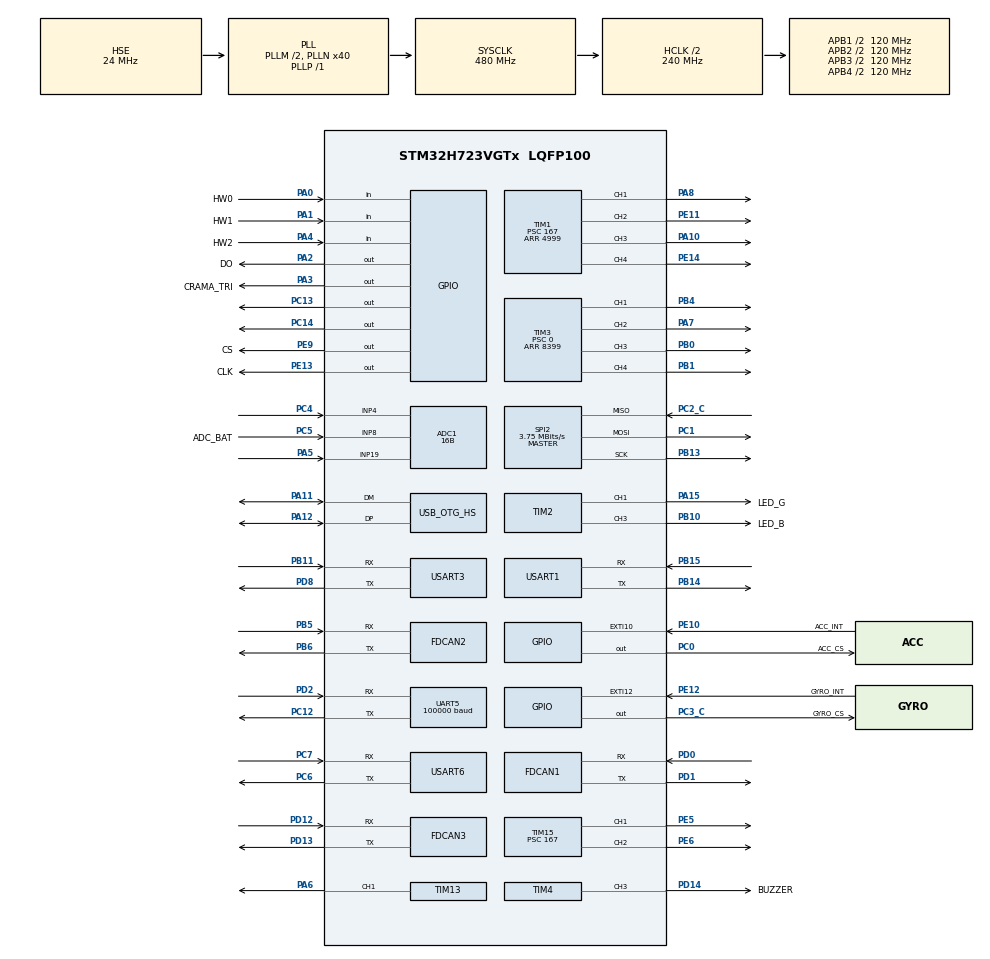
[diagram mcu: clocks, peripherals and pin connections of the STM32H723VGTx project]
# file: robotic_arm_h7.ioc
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ADC1.Channel-0\#ChannelRegularConversion=ADC_CHANNEL_4
ADC1.LowPowerAutoWait=DISABLE
ADC1.NbrOfConversion=1
ADC1.NbrOfConversionFlag=1
ADC1.OffsetNumber-0\#ChannelRegularConversion=ADC_OFFSET_NONE
ADC1.OffsetSignedSaturation-0\#ChannelRegularConversion=DISABLE
ADC1.Rank-0\#ChannelRegularConversion=1
ADC1.Resolution=ADC_RESOLUTION_16B
ADC1.SamplingTime-0\#ChannelRegularConversion=ADC_SAMPLETIME_1CYCLE_5
ADC1.master=1
ADC3.Channel-0\#ChannelRegularConversion=ADC_CHANNEL_TEMPSENSOR
ADC3.NbrOfConversionFlag=1
ADC3.OffsetNumber-0\#ChannelRegularConversion=ADC_OFFSET_NONE
ADC3.OffsetSign-0\#ChannelRegularConversion=ADC3_OFFSET_SIGN_NEGATIVE
ADC3.Rank-0\#ChannelRegularConversion=1
ADC3.SamplingTime-0\#ChannelRegularConversion=ADC3_SAMPLETIME_2CYCLES_5
CORTEX_M7.default_mode_Activation=1
Dma.ADC1.8.Direction=DMA_PERIPH_TO_MEMORY
Dma.ADC1.8.EventEnable=DISABLE
Dma.ADC1.8.FIFOMode=DMA_FIFOMODE_DISABLE
Dma.ADC1.8.Instance=DMA1_Stream7
Dma.ADC1.8.MemDataAlignment=DMA_MDATAALIGN_HALFWORD
Dma.ADC1.8.MemInc=DMA_MINC_ENABLE
Dma.ADC1.8.Mode=DMA_NORMAL
Dma.ADC1.8.PeriphDataAlignment=DMA_PDATAALIGN_HALFWORD
Dma.ADC1.8.PeriphInc=DMA_PINC_DISABLE
Dma.ADC1.8.Polarity=HAL_DMAMUX_REQ_GEN_RISING
Dma.ADC1.8.Priority=DMA_PRIORITY_LOW
Dma.ADC1.8.RequestNumber=1
Dma.ADC1.8.SignalID=NONE
Dma.ADC1.8.SyncEnable=DISABLE
Dma.ADC1.8.SyncPolarity=HAL_DMAMUX_SYNC_NO_EVENT
Dma.ADC1.8.SyncRequestNumber=1
Dma.ADC1.8.SyncSignalID=NONE
Dma.Request0=SPI2_RX
Dma.Request1=SPI2_TX
Dma.Request2=USART1_RX
Dma.Request3=USART1_TX
Dma.Request4=USART3_RX
Dma.Request5=USART6_RX
Dma.Request6=USART6_TX
Dma.Request7=UART5_RX
Dma.Request8=ADC1
Dma.SPI2_RX.0.Direction=DMA_PERIPH_TO_MEMORY
Dma.SPI2_RX.0.EventEnable=DISABLE
Dma.SPI2_RX.0.FIFOMode=DMA_FIFOMODE_DISABLE
Dma.SPI2_RX.0.Instance=DMA1_Stream0
Dma.SPI2_RX.0.MemDataAlignment=DMA_MDATAALIGN_BYTE
Dma.SPI2_RX.0.MemInc=DMA_MINC_ENABLE
Dma.SPI2_RX.0.Mode=DMA_NORMAL
Dma.SPI2_RX.0.PeriphDataAlignment=DMA_PDATAALIGN_BYTE
Dma.SPI2_RX.0.PeriphInc=DMA_PINC_DISABLE
Dma.SPI2_RX.0.Polarity=HAL_DMAMUX_REQ_GEN_RISING
Dma.SPI2_RX.0.Priority=DMA_PRIORITY_VERY_HIGH
Dma.SPI2_RX.0.RequestNumber=1
Dma.SPI2_RX.0.SignalID=NONE
Dma.SPI2_RX.0.SyncEnable=DISABLE
Dma.SPI2_RX.0.SyncPolarity=HAL_DMAMUX_SYNC_NO_EVENT
Dma.SPI2_RX.0.SyncRequestNumber=1
Dma.SPI2_RX.0.SyncSignalID=NONE
Dma.SPI2_TX.1.Direction=DMA_MEMORY_TO_PERIPH
Dma.SPI2_TX.1.EventEnable=DISABLE
Dma.SPI2_TX.1.FIFOMode=DMA_FIFOMODE_DISABLE
Dma.SPI2_TX.1.Instance=DMA1_Stream1
Dma.SPI2_TX.1.MemDataAlignment=DMA_MDATAALIGN_BYTE
Dma.SPI2_TX.1.MemInc=DMA_MINC_ENABLE
Dma.SPI2_TX.1.Mode=DMA_NORMAL
Dma.SPI2_TX.1.PeriphDataAlignment=DMA_PDATAALIGN_BYTE
Dma.SPI2_TX.1.PeriphInc=DMA_PINC_DISABLE
Dma.SPI2_TX.1.Polarity=HAL_DMAMUX_REQ_GEN_RISING
Dma.SPI2_TX.1.Priority=DMA_PRIORITY_HIGH
Dma.SPI2_TX.1.RequestNumber=1
Dma.SPI2_TX.1.SignalID=NONE
Dma.SPI2_TX.1.SyncEnable=DISABLE
Dma.SPI2_TX.1.SyncPolarity=HAL_DMAMUX_SYNC_NO_EVENT
Dma.SPI2_TX.1.SyncRequestNumber=1
Dma.SPI2_TX.1.SyncSignalID=NONE
Dma.UART5_RX.7.Direction=DMA_PERIPH_TO_MEMORY
Dma.UART5_RX.7.EventEnable=DISABLE
Dma.UART5_RX.7.FIFOMode=DMA_FIFOMODE_DISABLE
Dma.UART5_RX.7.Instance=DMA1_Stream4
Dma.UART5_RX.7.MemDataAlignment=DMA_MDATAALIGN_BYTE
Dma.UART5_RX.7.MemInc=DMA_MINC_ENABLE
Dma.UART5_RX.7.Mode=DMA_CIRCULAR
Dma.UART5_RX.7.PeriphDataAlignment=DMA_PDATAALIGN_BYTE
Dma.UART5_RX.7.PeriphInc=DMA_PINC_DISABLE
Dma.UART5_RX.7.Polarity=HAL_DMAMUX_REQ_GEN_RISING
Dma.UART5_RX.7.Priority=DMA_PRIORITY_VERY_HIGH
Dma.UART5_RX.7.RequestNumber=1
Dma.UART5_RX.7.SignalID=NONE
Dma.UART5_RX.7.SyncEnable=DISABLE
Dma.UART5_RX.7.SyncPolarity=HAL_DMAMUX_SYNC_NO_EVENT
Dma.UART5_RX.7.SyncRequestNumber=1
Dma.UART5_RX.7.SyncSignalID=NONE
Dma.USART1_RX.2.Direction=DMA_PERIPH_TO_MEMORY
Dma.USART1_RX.2.EventEnable=DISABLE
Dma.USART1_RX.2.FIFOMode=DMA_FIFOMODE_DISABLE
Dma.USART1_RX.2.Instance=DMA1_Stream3
Dma.USART1_RX.2.MemDataAlignment=DMA_MDATAALIGN_BYTE
Dma.USART1_RX.2.MemInc=DMA_MINC_ENABLE
Dma.USART1_RX.2.Mode=DMA_NORMAL
Dma.USART1_RX.2.PeriphDataAlignment=DMA_PDATAALIGN_BYTE
Dma.USART1_RX.2.PeriphInc=DMA_PINC_DISABLE
Dma.USART1_RX.2.Polarity=HAL_DMAMUX_REQ_GEN_RISING
Dma.USART1_RX.2.Priority=DMA_PRIORITY_VERY_HIGH
Dma.USART1_RX.2.RequestNumber=1
Dma.USART1_RX.2.SignalID=NONE
Dma.USART1_RX.2.SyncEnable=DISABLE
Dma.USART1_RX.2.SyncPolarity=HAL_DMAMUX_SYNC_NO_EVENT
Dma.USART1_RX.2.SyncRequestNumber=1
Dma.USART1_RX.2.SyncSignalID=NONE
Dma.USART1_TX.3.Direction=DMA_MEMORY_TO_PERIPH
Dma.USART1_TX.3.EventEnable=DISABLE
Dma.USART1_TX.3.FIFOMode=DMA_FIFOMODE_DISABLE
Dma.USART1_TX.3.Instance=DMA1_Stream2
Dma.USART1_TX.3.MemDataAlignment=DMA_MDATAALIGN_BYTE
Dma.USART1_TX.3.MemInc=DMA_MINC_ENABLE
Dma.USART1_TX.3.Mode=DMA_NORMAL
Dma.USART1_TX.3.PeriphDataAlignment=DMA_PDATAALIGN_BYTE
Dma.USART1_TX.3.PeriphInc=DMA_PINC_DISABLE
Dma.USART1_TX.3.Polarity=HAL_DMAMUX_REQ_GEN_RISING
Dma.USART1_TX.3.Priority=DMA_PRIORITY_MEDIUM
Dma.USART1_TX.3.RequestNumber=1
Dma.USART1_TX.3.SignalID=NONE
Dma.USART1_TX.3.SyncEnable=DISABLE
Dma.USART1_TX.3.SyncPolarity=HAL_DMAMUX_SYNC_NO_EVENT
Dma.USART1_TX.3.SyncRequestNumber=1
Dma.USART1_TX.3.SyncSignalID=NONE
Dma.USART3_RX.4.Direction=DMA_PERIPH_TO_MEMORY
Dma.USART3_RX.4.EventEnable=DISABLE
Dma.USART3_RX.4.FIFOMode=DMA_FIFOMODE_DISABLE
Dma.USART3_RX.4.Instance=DMA2_Stream0
Dma.USART3_RX.4.MemDataAlignment=DMA_MDATAALIGN_BYTE
Dma.USART3_RX.4.MemInc=DMA_MINC_ENABLE
Dma.USART3_RX.4.Mode=DMA_NORMAL
Dma.USART3_RX.4.PeriphDataAlignment=DMA_PDATAALIGN_BYTE
Dma.USART3_RX.4.PeriphInc=DMA_PINC_DISABLE
Dma.USART3_RX.4.Polarity=HAL_DMAMUX_REQ_GEN_RISING
Dma.USART3_RX.4.Priority=DMA_PRIORITY_HIGH
Dma.USART3_RX.4.RequestNumber=1
Dma.USART3_RX.4.SignalID=NONE
Dma.USART3_RX.4.SyncEnable=DISABLE
Dma.USART3_RX.4.SyncPolarity=HAL_DMAMUX_SYNC_NO_EVENT
Dma.USART3_RX.4.SyncRequestNumber=1
Dma.USART3_RX.4.SyncSignalID=NONE
Dma.USART6_RX.5.Direction=DMA_PERIPH_TO_MEMORY
Dma.USART6_RX.5.EventEnable=DISABLE
Dma.USART6_RX.5.FIFOMode=DMA_FIFOMODE_DISABLE
Dma.USART6_RX.5.Instance=DMA1_Stream5
Dma.USART6_RX.5.MemDataAlignment=DMA_MDATAALIGN_BYTE
Dma.USART6_RX.5.MemInc=DMA_MINC_ENABLE
Dma.USART6_RX.5.Mode=DMA_NORMAL
Dma.USART6_RX.5.PeriphDataAlignment=DMA_PDATAALIGN_BYTE
Dma.USART6_RX.5.PeriphInc=DMA_PINC_DISABLE
Dma.USART6_RX.5.Polarity=HAL_DMAMUX_REQ_GEN_RISING
Dma.USART6_RX.5.Priority=DMA_PRIORITY_HIGH
Dma.USART6_RX.5.RequestNumber=1
Dma.USART6_RX.5.SignalID=NONE
Dma.USART6_RX.5.SyncEnable=DISABLE
Dma.USART6_RX.5.SyncPolarity=HAL_DMAMUX_SYNC_NO_EVENT
Dma.USART6_RX.5.SyncRequestNumber=1
Dma.USART6_RX.5.SyncSignalID=NONE
Dma.USART6_TX.6.Direction=DMA_MEMORY_TO_PERIPH
Dma.USART6_TX.6.EventEnable=DISABLE
Dma.USART6_TX.6.FIFOMode=DMA_FIFOMODE_DISABLE
Dma.USART6_TX.6.Instance=DMA1_Stream6
Dma.USART6_TX.6.MemDataAlignment=DMA_MDATAALIGN_BYTE
Dma.USART6_TX.6.MemInc=DMA_MINC_ENABLE
Dma.USART6_TX.6.Mode=DMA_NORMAL
Dma.USART6_TX.6.PeriphDataAlignment=DMA_PDATAALIGN_BYTE
Dma.USART6_TX.6.PeriphInc=DMA_PINC_DISABLE
Dma.USART6_TX.6.Polarity=HAL_DMAMUX_REQ_GEN_RISING
Dma.USART6_TX.6.Priority=DMA_PRIORITY_MEDIUM
Dma.USART6_TX.6.RequestNumber=1
Dma.USART6_TX.6.SignalID=NONE
Dma.USART6_TX.6.SyncEnable=DISABLE
Dma.USART6_TX.6.SyncPolarity=HAL_DMAMUX_SYNC_NO_EVENT
Dma.USART6_TX.6.SyncRequestNumber=1
Dma.USART6_TX.6.SyncSignalID=NONE
FDCAN1.AutoRetransmission=ENABLE
FDCAN1.CalculateBaudRateNominal=1000000
FDCAN1.CalculateTimeBitNominal=1000
FDCAN1.CalculateTimeQuantumNominal=40.0
FDCAN1.DataPrescaler=4
FDCAN1.DataTimeSeg1=19
FDCAN1.DataTimeSeg2=5
FDCAN1.ExtFiltersNbr=5
FDCAN1.NominalPrescaler=4
FDCAN1.NominalTimeSeg1=19
FDCAN1.NominalTimeSeg2=5
FDCAN1.ProtocolException=ENABLE
FDCAN1.RxFifo0ElmtSize=FDCAN_DATA_BYTES_24
FDCAN1.RxFifo0ElmtsNbr=4
FDCAN1.RxFifo1ElmtSize=FDCAN_DATA_BYTES_24
FDCAN1.StdFiltersNbr=5
FDCAN1.TxElmtSize=FDCAN_DATA_BYTES_24
FDCAN1.TxFifoQueueElmtsNbr=8
FDCAN2.CalculateBaudRateNominal=1000000
FDCAN2.CalculateTimeBitNominal=1000
FDCAN2.CalculateTimeQuantumNominal=50.0
FDCAN2.DataPrescaler=5
FDCAN2.DataTimeSeg1=14
FDCAN2.DataTimeSeg2=5
FDCAN2.ExtFiltersNbr=5
FDCAN2.MessageRAMOffset=854
FDCAN2.NominalPrescaler=5
FDCAN2.NominalTimeSeg1=14
FDCAN2.NominalTimeSeg2=5
FDCAN2.RxFifo1ElmtSize=FDCAN_DATA_BYTES_24
FDCAN2.RxFifo1ElmtsNbr=4
FDCAN2.StdFiltersNbr=5
FDCAN2.TxElmtSize=FDCAN_DATA_BYTES_16
FDCAN2.TxFifoQueueElmtsNbr=4
FDCAN3.CalculateBaudRateNominal=1000000
FDCAN3.CalculateTimeBitNominal=1000
FDCAN3.CalculateTimeQuantumNominal=50.0
FDCAN3.DataPrescaler=5
FDCAN3.DataTimeSeg1=14
FDCAN3.DataTimeSeg2=5
FDCAN3.ExtFiltersNbr=5
FDCAN3.MessageRAMOffset=1709
FDCAN3.NominalPrescaler=5
FDCAN3.NominalTimeSeg1=14
FDCAN3.NominalTimeSeg2=5
FDCAN3.RxFifo0ElmtsNbr=2
FDCAN3.StdFiltersNbr=5
FDCAN3.TxFifoQueueElmtsNbr=3
FREERTOS.MEMORY_ALLOCATION=0
FREERTOS.Tasks01=defaultTask,0,128,StartDefaultTask,Default,NULL,Dynamic,NULL,NULL;INS_TASK,3,512,INS_Task,Default,NULL,Dynamic,NULL,NULL;CHASSISR_TASK,1,512,ChassisR_Task,Default,NULL,Dynamic,NULL,NULL;CHASSISL_TASK,1,512,ChassisL_Task,Default,NULL,Dynamic,NULL,NULL;OBSERVE_TASK,2,512,OBSERVE_Task,Default,NULL,Dynamic,NULL,NULL;PS2_TASK,1,128,PS2_Task,Default,NULL,Dynamic,NULL,NULL
FREERTOS.configENABLE_FPU=1
FREERTOS.configTOTAL_HEAP_SIZE=30720
FREERTOS.configUSE_TIMERS=1
Mcu.Family=STM32H7
Mcu.Name=STM32H723VGTx
Mcu.Package=LQFP100
NVIC.DMA1_Stream0_IRQn=true\:6\:0\:true\:false\:true\:true\:false\:true\:true
NVIC.DMA1_Stream1_IRQn=true\:6\:0\:true\:false\:true\:true\:false\:true\:true
NVIC.DMA1_Stream2_IRQn=true\:5\:0\:false\:false\:true\:true\:false\:true\:true
NVIC.DMA1_Stream3_IRQn=true\:5\:0\:false\:false\:true\:true\:false\:true\:true
NVIC.DMA1_Stream4_IRQn=true\:5\:0\:false\:false\:true\:true\:false\:true\:true
NVIC.DMA1_Stream5_IRQn=true\:5\:0\:false\:false\:true\:true\:false\:true\:true
NVIC.DMA1_Stream6_IRQn=true\:5\:0\:false\:false\:true\:true\:false\:true\:true
NVIC.DMA1_Stream7_IRQn=true\:5\:0\:false\:false\:true\:true\:false\:true\:true
NVIC.DMA2_Stream0_IRQn=true\:5\:0\:false\:false\:true\:true\:false\:true\:true
NVIC.FDCAN1_IT0_IRQn=true\:6\:0\:true\:false\:true\:true\:true\:true\:true
NVIC.FDCAN1_IT1_IRQn=true\:5\:0\:false\:false\:true\:true\:true\:true\:true
NVIC.FDCAN2_IT0_IRQn=true\:5\:0\:true\:false\:true\:true\:true\:true\:true
NVIC.FDCAN2_IT1_IRQn=true\:5\:0\:false\:false\:true\:true\:true\:true\:true
NVIC.FDCAN3_IT0_IRQn=true\:5\:0\:false\:false\:true\:true\:true\:true\:true
NVIC.FDCAN3_IT1_IRQn=true\:5\:0\:false\:false\:true\:true\:true\:true\:true
NVIC.OTG_HS_IRQn=true\:5\:0\:false\:false\:true\:true\:true\:true\:true
NVIC.PriorityGroup=NVIC_PRIORITYGROUP_4
NVIC.SPI2_IRQn=true\:5\:0\:true\:false\:true\:true\:false\:true\:true
NVIC.TIM1_UP_IRQn=true\:5\:0\:false\:false\:true\:true\:true\:true\:true
NVIC.TIM8_UP_TIM13_IRQn=true\:5\:0\:false\:false\:true\:true\:true\:true\:true
NVIC.UART5_IRQn=true\:5\:0\:false\:false\:true\:true\:true\:true\:true
NVIC.USART1_IRQn=true\:5\:0\:false\:false\:true\:true\:true\:true\:true
NVIC.USART3_IRQn=true\:5\:0\:false\:false\:true\:true\:true\:true\:true
NVIC.USART6_IRQn=true\:5\:0\:false\:false\:true\:true\:true\:true\:true
PA0.GPIO_Label=HW0
PA0.GPIO_PuPd=GPIO_NOPULL
PA0.Signal=GPIO_Input
PA1.GPIO_Label=HW1
PA1.Signal=GPIO_Input
PA10.GPIO_PuPd=GPIO_PULLUP
PA10.GPIO_Speed=GPIO_SPEED_FREQ_HIGH
PA10.Signal=S_TIM1_CH3
PA11.Mode=Device_Only_FS
PA11.Signal=USB_OTG_HS_DM
PA12.Mode=Device_Only_FS
PA12.Signal=USB_OTG_HS_DP
PA13(JTMS/SWDIO).Mode=Serial_Wire
PA13(JTMS/SWDIO).Signal=DEBUG_JTMS-SWDIO
PA14(JTCK/SWCLK).Mode=Serial_Wire
PA14(JTCK/SWCLK).Signal=DEBUG_JTCK-SWCLK
PA15(JTDI).GPIO_Label=LED_G
PA15(JTDI).GPIO_PuPd=GPIO_PULLUP
PA15(JTDI).GPIO_Speed=GPIO_SPEED_FREQ_HIGH
PA15(JTDI).Signal=S_TIM2_CH1_ETR
PA2.GPIO_Label=DO
PA2.GPIO_PuPd=GPIO_PULLUP
PA2.GPIO_Speed=GPIO_SPEED_FREQ_VERY_HIGH
PA2.PinState=GPIO_PIN_SET
PA2.Signal=GPIO_Output
PA3.GPIO_Label=CRAMA_TRI
PA3.GPIO_PuPd=GPIO_PULLUP
PA3.Signal=GPIO_Output
PA4.GPIO_Label=HW2
PA4.Signal=GPIO_Input
PA5.Signal=ADCx_INP19
PA6.GPIO_PuPd=GPIO_PULLUP
PA6.GPIO_Speed=GPIO_SPEED_FREQ_HIGH
PA6.Signal=S_TIM13_CH1
PA7.Signal=S_TIM3_CH2
PA8.GPIO_PuPd=GPIO_PULLUP
PA8.GPIO_Speed=GPIO_SPEED_FREQ_HIGH
PA8.Signal=S_TIM1_CH1
PB0.GPIO_PuPd=GPIO_PULLUP
PB0.GPIO_Speed=GPIO_SPEED_FREQ_HIGH
PB0.Signal=S_TIM3_CH3
PB1.Signal=S_TIM3_CH4
PB10.GPIO_Label=LED_B
PB10.GPIO_PuPd=GPIO_PULLUP
PB10.GPIO_Speed=GPIO_SPEED_FREQ_HIGH
PB10.Signal=S_TIM2_CH3
PB11.GPIO_Speed=GPIO_SPEED_FREQ_VERY_HIGH
PB11.Mode=Asynchronous
PB11.Signal=USART3_RX
PB13.GPIO_Speed=GPIO_SPEED_FREQ_VERY_HIGH
PB13.Mode=Full_Duplex_Master
PB13.Signal=SPI2_SCK
PB14.GPIO_Speed=GPIO_SPEED_FREQ_VERY_HIGH
PB14.Mode=Asynchronous
PB14.Signal=USART1_TX
PB15.GPIO_Speed=GPIO_SPEED_FREQ_VERY_HIGH
PB15.Mode=Asynchronous
PB15.Signal=USART1_RX
PB4(NJTRST).Signal=S_TIM3_CH1
PB5.GPIO_Speed=GPIO_SPEED_FREQ_VERY_HIGH
PB5.Mode=FDCAN_Activate
PB5.Signal=FDCAN2_RX
PB6.GPIO_FM6=__NULL
PB6.GPIO_Speed=GPIO_SPEED_FREQ_VERY_HIGH
PB6.Mode=FDCAN_Activate
PB6.Signal=FDCAN2_TX
PC0.GPIO_Label=ACC_CS
PC0.GPIO_Speed=GPIO_SPEED_FREQ_VERY_HIGH
PC0.PinState=GPIO_PIN_SET
PC0.Signal=GPIO_Output
PC1.GPIO_Speed=GPIO_SPEED_FREQ_VERY_HIGH
PC1.Mode=Full_Duplex_Master
PC1.Signal=SPI2_MOSI
PC12.GPIO_Speed=GPIO_SPEED_FREQ_LOW
PC12.Mode=Asynchronous
PC12.Signal=UART5_TX
PC13.Signal=GPIO_Output
PC14-OSC32_IN.Signal=GPIO_Output
PC2_C.GPIO_Speed=GPIO_SPEED_FREQ_VERY_HIGH
PC2_C.Mode=Full_Duplex_Master
PC2_C.Signal=SPI2_MISO
PC3_C.GPIO_Label=GYRO_CS
PC3_C.GPIO_Speed=GPIO_SPEED_FREQ_VERY_HIGH
PC3_C.PinState=GPIO_PIN_SET
PC3_C.Signal=GPIO_Output
PC4.Signal=ADCx_INP4
PC5.GPIO_Label=ADC_BAT
PC5.Signal=ADCx_INP8
PC6.GPIO_Speed=GPIO_SPEED_FREQ_VERY_HIGH
PC6.Mode=Asynchronous
PC6.Signal=USART6_TX
PC7.GPIO_Speed=GPIO_SPEED_FREQ_VERY_HIGH
PC7.Mode=Asynchronous
PC7.Signal=USART6_RX
PD0.GPIO_Speed=GPIO_SPEED_FREQ_VERY_HIGH
PD0.Mode=FDCAN_Activate
PD0.Signal=FDCAN1_RX
PD1.GPIO_Speed=GPIO_SPEED_FREQ_VERY_HIGH
PD1.Mode=FDCAN_Activate
PD1.Signal=FDCAN1_TX
PD12.GPIO_Speed=GPIO_SPEED_FREQ_VERY_HIGH
PD12.Mode=FDCAN_Activate
PD12.Signal=FDCAN3_RX
PD13.GPIO_Speed=GPIO_SPEED_FREQ_VERY_HIGH
PD13.Mode=FDCAN_Activate
PD13.Signal=FDCAN3_TX
PD14.GPIO_Label=BUZZER
PD14.GPIO_PuPd=GPIO_PULLUP
PD14.GPIO_Speed=GPIO_SPEED_FREQ_VERY_HIGH
PD14.Signal=S_TIM4_CH3
PD2.GPIO_Speed=GPIO_SPEED_FREQ_LOW
PD2.Mode=Asynchronous
PD2.Signal=UART5_RX
PD8.GPIO_Speed=GPIO_SPEED_FREQ_VERY_HIGH
PD8.Mode=Asynchronous
PD8.Signal=USART3_TX
PE10.GPIO_Label=ACC_INT
PE10.Signal=GPXTI10
PE11.GPIO_PuPd=GPIO_PULLUP
PE11.GPIO_Speed=GPIO_SPEED_FREQ_HIGH
PE11.Signal=S_TIM1_CH2
PE12.GPIO_Label=GYRO_INT
PE12.Signal=GPXTI12
PE13.GPIO_Label=CLK
PE13.GPIO_PuPd=GPIO_PULLUP
PE13.GPIO_Speed=GPIO_SPEED_FREQ_VERY_HIGH
PE13.PinState=GPIO_PIN_SET
PE13.Signal=GPIO_Output
PE14.GPIO_PuPd=GPIO_PULLUP
PE14.GPIO_Speed=GPIO_SPEED_FREQ_HIGH
PE14.Signal=S_TIM1_CH4
PE5.GPIO_PuPd=GPIO_PULLUP
PE5.GPIO_Speed=GPIO_SPEED_FREQ_HIGH
PE5.Signal=S_TIM15_CH1
PE6.GPIO_PuPd=GPIO_PULLUP
PE6.GPIO_Speed=GPIO_SPEED_FREQ_HIGH
PE6.Signal=S_TIM15_CH2
PE9.GPIO_Label=CS
PE9.GPIO_PuPd=GPIO_PULLUP
PE9.GPIO_Speed=GPIO_SPEED_FREQ_VERY_HIGH
PE9.PinState=GPIO_PIN_SET
PE9.Signal=GPIO_Output
PH0-OSC_IN.Mode=HSE-External-Oscillator
PH0-OSC_IN.Signal=RCC_OSC_IN
PH1-OSC_OUT.Mode=HSE-External-Oscillator
PH1-OSC_OUT.Signal=RCC_OSC_OUT
ProjectManager.HeapSize=0x200
ProjectManager.StackSize=0x800
ProjectManager.TargetToolchain=MDK-ARM V5.27
RCC.ADCFreq_Value=100000000
RCC.APB1Freq_Value=120000000
RCC.APB2Freq_Value=120000000
RCC.APB3Freq_Value=120000000
RCC.APB4Freq_Value=120000000
RCC.CortexFreq_Value=480000000
RCC.D1PPRE=RCC_APB3_DIV2
RCC.D2PPRE1=RCC_APB1_DIV2
RCC.D2PPRE2=RCC_APB2_DIV2
RCC.D3PPRE=RCC_APB4_DIV2
RCC.DIVM1=2
RCC.DIVM2=24
RCC.DIVN1=40
RCC.DIVN2=200
RCC.DIVP1=1
RCC.DIVQ1=4
RCC.FDCANCLockSelection=RCC_FDCANCLKSOURCE_PLL2
RCC.HCLKFreq_Value=240000000
RCC.HPRE=RCC_HCLK_DIV2
RCC.HSE_VALUE=24000000
RCC.PLL2FRACN=0
RCC.PLL3FRACN=0
RCC.PLLFRACN=0
RCC.PLLSourceVirtual=RCC_PLLSOURCE_HSE
RCC.SYSCLKFreq_VALUE=480000000
RCC.SYSCLKSource=RCC_SYSCLKSOURCE_PLLCLK
RCC.USBFreq_Value=120000000
RTC.AsynchPrediv=124
RTC.SynchPrediv=3199
SH.ADCx_INP19.0=ADC1_INP19,IN19-Single-Ended
SH.ADCx_INP4.0=ADC1_INP4,IN4-Single-Ended
SH.ADCx_INP8.0=ADC1_INP8,IN8-Single-Ended
SH.S_TIM13_CH1.0=TIM13_CH1,PWM Generation1 CH1
SH.S_TIM15_CH1.0=TIM15_CH1,PWM Generation1 CH1
SH.S_TIM15_CH2.0=TIM15_CH2,PWM Generation2 CH2
SH.S_TIM1_CH1.0=TIM1_CH1,PWM Generation1 CH1
SH.S_TIM1_CH2.0=TIM1_CH2,PWM Generation2 CH2
SH.S_TIM1_CH3.0=TIM1_CH3,PWM Generation3 CH3
SH.S_TIM1_CH4.0=TIM1_CH4,PWM Generation4 CH4
SH.S_TIM2_CH1_ETR.0=TIM2_CH1,PWM Generation1 CH1
SH.S_TIM2_CH3.0=TIM2_CH3,PWM Generation3 CH3
SH.S_TIM3_CH1.0=TIM3_CH1,PWM Generation1 CH1
SH.S_TIM3_CH2.0=TIM3_CH2,PWM Generation2 CH2
SH.S_TIM3_CH3.0=TIM3_CH3,PWM Generation3 CH3
SH.S_TIM3_CH4.0=TIM3_CH4,PWM Generation4 CH4
SH.S_TIM4_CH3.0=TIM4_CH3,PWM Generation3 CH3
SPI2.BaudRatePrescaler=SPI_BAUDRATEPRESCALER_32
SPI2.CLKPhase=SPI_PHASE_2EDGE
SPI2.CLKPolarity=SPI_POLARITY_HIGH
SPI2.CalculateBaudRate=3.75 MBits/s
SPI2.DataSize=SPI_DATASIZE_8BIT
SPI2.Direction=SPI_DIRECTION_2LINES
SPI2.Mode=SPI_MODE_MASTER
SPI2.VirtualType=VM_MASTER
TIM1.Channel-PWM\ Generation1\ CH1=TIM_CHANNEL_1
TIM1.Channel-PWM\ Generation2\ CH2=TIM_CHANNEL_2
TIM1.Channel-PWM\ Generation3\ CH3=TIM_CHANNEL_3
TIM1.Channel-PWM\ Generation4\ CH4=TIM_CHANNEL_4
TIM1.Period=4999
TIM1.Prescaler=167
TIM1.Pulse-PWM\ Generation1\ CH1=1000
TIM1.Pulse-PWM\ Generation2\ CH2=1000
TIM1.Pulse-PWM\ Generation3\ CH3=1000
TIM1.Pulse-PWM\ Generation4\ CH4=1000
TIM13.Channel=TIM_CHANNEL_1
TIM15.Channel-PWM\ Generation1\ CH1=TIM_CHANNEL_1
TIM15.Channel-PWM\ Generation2\ CH2=TIM_CHANNEL_2
TIM15.Period=19999
TIM15.Prescaler=167
TIM15.Pulse-PWM\ Generation1\ CH1=1000
TIM2.Channel-PWM\ Generation1\ CH1=TIM_CHANNEL_1
TIM2.Channel-PWM\ Generation3\ CH3=TIM_CHANNEL_3
TIM3.AutoReloadPreload=TIM_AUTORELOAD_PRELOAD_DISABLE
TIM3.Channel-PWM\ Generation1\ CH1=TIM_CHANNEL_1
TIM3.Channel-PWM\ Generation2\ CH2=TIM_CHANNEL_2
TIM3.Channel-PWM\ Generation3\ CH3=TIM_CHANNEL_3
TIM3.Channel-PWM\ Generation4\ CH4=TIM_CHANNEL_4
TIM3.Period=8399
TIM3.Prescaler=0
TIM4.Channel-PWM\ Generation3\ CH3=TIM_CHANNEL_3
UART5.BaudRate=100000
UART5.Parity=PARITY_EVEN
UART5.StopBits=UART_STOPBITS_2
UART5.WordLength=WORDLENGTH_9B
USART1.VirtualMode-Asynchronous=VM_ASYNC
USART3.VirtualMode-Asynchronous=VM_ASYNC
USART6.VirtualMode=VM_ASYNC
USB_DEVICE.CLASS_NAME_HS=CDC
USB_DEVICE.VirtualMode=Cdc
USB_DEVICE.VirtualModeHS=Cdc_HS
USB_OTG_HS.VirtualMode-Device_Only_FS=Device_Only_FS
VP_ADC3_TempSens_Input.Mode=IN-TempSens
VP_ADC3_Vref_Input.Mode=IN-Vrefint
VP_FREERTOS_VS_CMSIS_V1.Mode=CMSIS_V1
VP_RTC_VS_RTC_Activate.Mode=RTC_Enabled
VP_TIM13_VS_ClockSourceINT.Mode=Enable_Timer
VP_TIM15_VS_ClockSourceINT.Mode=Internal
VP_TIM2_VS_ClockSourceINT.Mode=Internal
VP_TIM3_VS_ClockSourceINT.Mode=Internal
VP_USB_DEVICE_VS_USB_DEVICE_CDC_HS.Mode=CDC_HS
board=custom

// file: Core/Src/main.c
/* USER CODE BEGIN Header */
/**
  ******************************************************************************
  * @file           : main.c
  * @brief          : Main program body
  ******************************************************************************
  * @attention
  *
  * Copyright (c) 2024 STMicroelectronics.
  * All rights reserved.
  *
  * This software is licensed under terms that can be found in the LICENSE file
  * in the root directory of this software component.
  * If no LICENSE file comes with this software, it is provided AS-IS.
  *
  ******************************************************************************
  */
/* USER CODE END Header */
#include "main.h"
#include "cmsis_os.h"
#include "adc.h"
#include "dma.h"
#include "fdcan.h"
#include "rtc.h"
#include "spi.h"
#include "tim.h"
#include "usart.h"
#include "usb_device.h"
#include "gpio.h"

/* USER CODE BEGIN Includes */
#include "BMI088driver.h"
#include "kalman_filter.h"
#include "mahony_filter.h"
#include "bsp_dwt.h"
#include "BMI088Middleware.h"
/* USER CODE END Includes */

void SystemClock_Config(void);
void PeriphCommonClock_Config(void);
static void MPU_Config(void);
void MX_FREERTOS_Init(void);

int main(void)
{

  /* MPU Configuration--------------------------------------------------------*/
  MPU_Config();

  /* MCU Configuration--------------------------------------------------------*/

  /* Reset of all peripherals, Initializes the Flash interface and the Systick. */
  HAL_Init();

  /* USER CODE BEGIN Init */
//06 01 00 00 00 00 00 00 00 00 00 00 00 00 80 3F
  /* USER CODE END Init */

  /* Configure the system clock */
  SystemClock_Config();

  /* Configure the peripherals common clocks */
  PeriphCommonClock_Config();

  /* Initialize all configured peripherals */
  MX_GPIO_Init();
  MX_DMA_Init();
  MX_SPI2_Init();
  MX_FDCAN1_Init();
  MX_FDCAN2_Init();
  MX_TIM3_Init();
  MX_FDCAN3_Init();
  MX_USART1_UART_Init();
  MX_USART3_UART_Init();
  MX_USART6_UART_Init();
  MX_UART5_Init();
  MX_ADC1_Init();
  MX_RTC_Init();
  MX_TIM1_Init();
  MX_ADC3_Init();
  MX_TIM2_Init();
  MX_TIM4_Init();
  MX_TIM13_Init();
  MX_TIM15_Init();
  /* USER CODE BEGIN 2 */
	DWT_Init(480);

    /* BMI088��ʼ�� */
  while (BMI088_init(&hspi2, 0) != BMI088_NO_ERROR)
	{
	  ;
	}
	Power_OUT1_ON;//imu��ʼ����ɣ��ɿص�Դ�򿪣�led����
	Power_OUT2_ON;

//  FDCAN1_Config();//can��������ʼ��
//	FDCAN2_Config();
  /* USER CODE END 2 */

  /* Call init function for freertos objects (in cmsis_os2.c) */
  MX_FREERTOS_Init();

  /* Start scheduler */
  osKernelStart();

  /* We should never get here as control is now taken by the scheduler */

  /* Infinite loop */
  while (1)
  {

  }
}

void SystemClock_Config(void)
{
  RCC_OscInitTypeDef RCC_OscInitStruct = {0};
  RCC_ClkInitTypeDef RCC_ClkInitStruct = {0};

  /** Supply configuration update enable
  */
  HAL_PWREx_ConfigSupply(PWR_LDO_SUPPLY);

  /** Configure the main internal regulator output voltage
  */
  __HAL_PWR_VOLTAGESCALING_CONFIG(PWR_REGULATOR_VOLTAGE_SCALE0);

  while(!__HAL_PWR_GET_FLAG(PWR_FLAG_VOSRDY)) {}

  /** Initializes the RCC Oscillators according to the specified parameters
  * in the RCC_OscInitTypeDef structure.
  */
  RCC_OscInitStruct.OscillatorType = RCC_OSCILLATORTYPE_LSI|RCC_OSCILLATORTYPE_HSE;
  RCC_OscInitStruct.HSEState = RCC_HSE_ON;
  RCC_OscInitStruct.LSIState = RCC_LSI_ON;
  RCC_OscInitStruct.PLL.PLLState = RCC_PLL_ON;
  RCC_OscInitStruct.PLL.PLLSource = RCC_PLLSOURCE_HSE;
  RCC_OscInitStruct.PLL.PLLM = 2;
  RCC_OscInitStruct.PLL.PLLN = 40;
  RCC_OscInitStruct.PLL.PLLP = 1;
  RCC_OscInitStruct.PLL.PLLQ = 4;
  RCC_OscInitStruct.PLL.PLLR = 2;
  RCC_OscInitStruct.PLL.PLLRGE = RCC_PLL1VCIRANGE_3;
  RCC_OscInitStruct.PLL.PLLVCOSEL = RCC_PLL1VCOWIDE;
  RCC_OscInitStruct.PLL.PLLFRACN = 0;
  if (HAL_RCC_OscConfig(&RCC_OscInitStruct) != HAL_OK)
  {
    Error_Handler();
  }

  /** Initializes the CPU, AHB and APB buses clocks
  */
  RCC_ClkInitStruct.ClockType = RCC_CLOCKTYPE_HCLK|RCC_CLOCKTYPE_SYSCLK
                              |RCC_CLOCKTYPE_PCLK1|RCC_CLOCKTYPE_PCLK2
                              |RCC_CLOCKTYPE_D3PCLK1|RCC_CLOCKTYPE_D1PCLK1;
  RCC_ClkInitStruct.SYSCLKSource = RCC_SYSCLKSOURCE_PLLCLK;
  RCC_ClkInitStruct.SYSCLKDivider = RCC_SYSCLK_DIV1;
  RCC_ClkInitStruct.AHBCLKDivider = RCC_HCLK_DIV2;
  RCC_ClkInitStruct.APB3CLKDivider = RCC_APB3_DIV2;
  RCC_ClkInitStruct.APB1CLKDivider = RCC_APB1_DIV2;
  RCC_ClkInitStruct.APB2CLKDivider = RCC_APB2_DIV2;
  RCC_ClkInitStruct.APB4CLKDivider = RCC_APB4_DIV2;

  if (HAL_RCC_ClockConfig(&RCC_ClkInitStruct, FLASH_LATENCY_3) != HAL_OK)
  {
    Error_Handler();
  }
}

void PeriphCommonClock_Config(void)
{
  RCC_PeriphCLKInitTypeDef PeriphClkInitStruct = {0};

  /** Initializes the peripherals clock
  */
  PeriphClkInitStruct.PeriphClockSelection = RCC_PERIPHCLK_ADC|RCC_PERIPHCLK_FDCAN;
  PeriphClkInitStruct.PLL2.PLL2M = 24;
  PeriphClkInitStruct.PLL2.PLL2N = 200;
  PeriphClkInitStruct.PLL2.PLL2P = 2;
  PeriphClkInitStruct.PLL2.PLL2Q = 2;
  PeriphClkInitStruct.PLL2.PLL2R = 2;
  PeriphClkInitStruct.PLL2.PLL2RGE = RCC_PLL2VCIRANGE_0;
  PeriphClkInitStruct.PLL2.PLL2VCOSEL = RCC_PLL2VCOMEDIUM;
  PeriphClkInitStruct.PLL2.PLL2FRACN = 0;
  PeriphClkInitStruct.FdcanClockSelection = RCC_FDCANCLKSOURCE_PLL2;
  PeriphClkInitStruct.AdcClockSelection = RCC_ADCCLKSOURCE_PLL2;
  if (HAL_RCCEx_PeriphCLKConfig(&PeriphClkInitStruct) != HAL_OK)
  {
    Error_Handler();
  }
}

 /* MPU Configuration */

void MPU_Config(void)
{
  MPU_Region_InitTypeDef MPU_InitStruct = {0};

  /* Disables the MPU */
  HAL_MPU_Disable();

  /** Initializes and configures the Region and the memory to be protected
  */
  MPU_InitStruct.Enable = MPU_REGION_ENABLE;
  MPU_InitStruct.Number = MPU_REGION_NUMBER0;
  MPU_InitStruct.BaseAddress = 0x0;
  MPU_InitStruct.Size = MPU_REGION_SIZE_4GB;
  MPU_InitStruct.SubRegionDisable = 0x87;
  MPU_InitStruct.TypeExtField = MPU_TEX_LEVEL0;
  MPU_InitStruct.AccessPermission = MPU_REGION_NO_ACCESS;
  MPU_InitStruct.DisableExec = MPU_INSTRUCTION_ACCESS_DISABLE;
  MPU_InitStruct.IsShareable = MPU_ACCESS_SHAREABLE;
  MPU_InitStruct.IsCacheable = MPU_ACCESS_NOT_CACHEABLE;
  MPU_InitStruct.IsBufferable = MPU_ACCESS_NOT_BUFFERABLE;

  HAL_MPU_ConfigRegion(&MPU_InitStruct);
  /* Enables the MPU */
  HAL_MPU_Enable(MPU_PRIVILEGED_DEFAULT);

}

void Error_Handler(void)
{
  __disable_irq();
  while (1)
  {
  }
}

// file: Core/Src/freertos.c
/* USER CODE BEGIN Header */
/**
  ******************************************************************************
  * File Name          : freertos.c
  * Description        : Code for freertos applications
  ******************************************************************************
  * @attention
  *
  * Copyright (c) 2024 STMicroelectronics.
  * All rights reserved.
  *
  * This software is licensed under terms that can be found in the LICENSE file
  * in the root directory of this software component.
  * If no LICENSE file comes with this software, it is provided AS-IS.
  *
  ******************************************************************************
  */
/* USER CODE END Header */

#include "FreeRTOS.h"
#include "task.h"
#include "main.h"
#include "cmsis_os.h"

/* USER CODE BEGIN Includes */
// #include "INS_task.h"
#include "start_task.h"
/* USER CODE END Includes */

osThreadId defaultTaskHandle;
osThreadId INS_TASKHandle;
osThreadId CHASSISR_TASKHandle;
osThreadId CHASSISL_TASKHandle;
osThreadId OBSERVE_TASKHandle;
osThreadId PS2_TASKHandle;

/* USER CODE BEGIN FunctionPrototypes */
osThreadId startTaskHandle;
void start_task(void const *argument);
/* USER CODE END FunctionPrototypes */

void StartDefaultTask(void const * argument);
void INS_Task(void const * argument);
void ChassisR_Task(void const * argument);
void ChassisL_Task(void const * argument);
void OBSERVE_Task(void const * argument);
void PS2_Task(void const * argument);

extern void MX_USB_DEVICE_Init(void);
void MX_FREERTOS_Init(void); /* (MISRA C 2004 rule 8.1) */

void MX_FREERTOS_Init(void) {

  /* Create the thread(s) */
  /* definition and creation of defaultTask */
  osThreadDef(defaultTask, StartDefaultTask, osPriorityNormal, 0, 128);
  defaultTaskHandle = osThreadCreate(osThread(defaultTask), NULL);

  /* definition and creation of INS_TASK */
  osThreadDef(INS_TASK, INS_Task, osPriorityRealtime, 0, 512);
  INS_TASKHandle = osThreadCreate(osThread(INS_TASK), NULL);

  /* definition and creation of CHASSISR_TASK */
  osThreadDef(CHASSISR_TASK, ChassisR_Task, osPriorityAboveNormal, 0, 512);
  CHASSISR_TASKHandle = osThreadCreate(osThread(CHASSISR_TASK), NULL);

  /* definition and creation of CHASSISL_TASK */
  osThreadDef(CHASSISL_TASK, ChassisL_Task, osPriorityAboveNormal, 0, 512);
  CHASSISL_TASKHandle = osThreadCreate(osThread(CHASSISL_TASK), NULL);

  /* definition and creation of OBSERVE_TASK */
  osThreadDef(OBSERVE_TASK, OBSERVE_Task, osPriorityHigh, 0, 512);
  OBSERVE_TASKHandle = osThreadCreate(osThread(OBSERVE_TASK), NULL);

  /* definition and creation of PS2_TASK */
  osThreadDef(PS2_TASK, PS2_Task, osPriorityAboveNormal, 0, 128);
  PS2_TASKHandle = osThreadCreate(osThread(PS2_TASK), NULL);

  /* USER CODE BEGIN RTOS_THREADS */
  /* add threads, ... */
  osThreadDef(start, start_task, osPriorityNormal, 0, 128);
  startTaskHandle = osThreadCreate(osThread(start), NULL);
  /* USER CODE END RTOS_THREADS */

}

void StartDefaultTask(void const * argument)
{
  /* init code for USB_DEVICE */
  MX_USB_DEVICE_Init();
  for(;;)
  {
    osDelay(1);
  }
}

void INS_Task(void const * argument)
{
  for(;;)
  {
    osDelay(1);
  }
}

void ChassisR_Task(void const * argument)
{
  for(;;)
  {
    osDelay(1);
  }
}

void ChassisL_Task(void const * argument)
{
  for(;;)
  {
    osDelay(1);
  }
}

void OBSERVE_Task(void const * argument)
{
  for(;;)
  {
    osDelay(1);
  }
}

void PS2_Task(void const * argument)
{
  for(;;)
  {
    osDelay(1);
  }
}

/* USER CODE BEGIN Application */
__weak void start_task(void const * argument)
{

    /* Infinite loop */
    /* init code for USB_DEVICE */
    System_Resource_Init();

    while(1) {
        Task_start();
        /* Delete the default task. */
        osThreadTerminate(startTaskHandle);

    }
    /* USER CODE END test_task */
}
/* USER CODE END Application */
